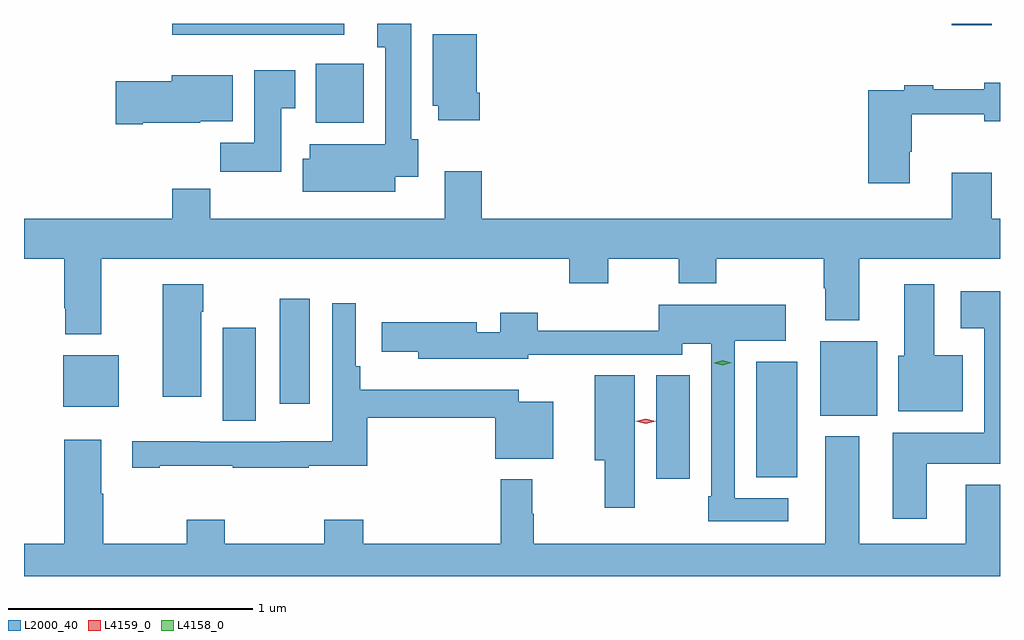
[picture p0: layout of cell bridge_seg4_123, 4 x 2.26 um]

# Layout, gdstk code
import gdstk
lib = gdstk.Library(unit=1e-6, precision=1e-09)
def R(c, l, rs):  # rectangles x0, y0, x1, y1
    for r in rs: c.add(gdstk.rectangle(r[:2], r[2:], *l))
def P(c, l, *ps):  # polygons
    for p in ps: c.add(gdstk.Polygon(p, *l))
L2000_40 = (2000, 40)
L4158_0 = (4158, 0)
L4159_0 = (4159, 0)

bridge_seg4_123 = lib.new_cell('bridge_seg4_123')
R(bridge_seg4_123, L2000_40, [(223.736,749.298,223.873,749.723), (224.147,749.305,224.314,749.779), (221.96,749.536,222.094,749.917), (224.408,749.558,224.641,749.863), (221.306,749.594,221.533,749.806), (222.194,749.607,222.316,750.037), (222.341,750.758,222.538,751), (221.753,751.118,222.457,751.163), (224.948,751.158,225.112,751.163)])
P(bridge_seg4_123, L2000_40, [(222.667,750.536),(222.76,750.536),(222.76,750.69),(222.733,750.69),(222.733,751.163),(222.593,751.163),(222.593,751.067),(222.626,751.067),(222.626,750.67),(222.317,750.67),(222.317,750.611),(222.287,750.611),(222.287,750.476),(222.667,750.476)],
  [(223.013,750.88),(223,750.88),(223,751.12),(222.821,751.12),(222.821,750.828),(222.842,750.828),(222.842,750.768),(223.013,750.768)],
  [(222.199,750.817),(222.256,750.817),(222.256,750.973),(222.089,750.973),(222.089,750.676),(221.95,750.676),(221.95,750.558),(222.199,750.558)],
  [(221.632,750.758),(221.868,750.758),(221.868,750.764),(222.001,750.764),(222.001,750.952),(221.75,750.952),(221.75,750.929),(221.52,750.929),(221.52,750.751),(221.632,750.751)],
  [(224.776,750.64),(224.784,750.64),(224.784,750.793),(225.08,750.793),(225.08,750.764),(225.145,750.764),(225.145,750.922),(225.08,750.922),(225.08,750.896),(224.872,750.896),(224.872,750.911),(224.752,750.911),(224.752,750.891),(224.606,750.891),(224.606,750.51),(224.776,750.51)],
  [(221.461,750.2),(223.379,750.2),(223.379,750.101),(223.539,750.101),(223.539,750.2),(223.828,750.2),(223.828,750.101),(223.983,750.101),(223.983,750.2),(224.422,750.2),(224.422,750.08),(224.429,750.08),(224.429,749.948),(224.569,749.948),(224.569,750.2),(225.145,750.2),(225.145,750.364),(225.112,750.364),(225.112,750.553),(224.948,750.553),(224.948,750.364),(223.022,750.364),(223.022,750.559),(222.869,750.559),(222.869,750.364),(221.909,750.364),(221.909,750.488),(221.753,750.488),(221.753,750.364),(221.145,750.364),(221.145,750.2),(221.309,750.2),(221.309,749.998),(221.314,749.998),(221.314,749.891),(221.461,749.891)],
  [(221.872,749.984),(221.88,749.984),(221.88,750.097),(221.714,750.097),(221.714,749.634),(221.872,749.634)],
  [(224.992,749.806),(224.875,749.806),(224.875,750.097),(224.753,750.097),(224.753,749.802),(224.729,749.802),(224.729,749.576),(224.992,749.576)],
  [(224.845,749.36),(225.145,749.36),(225.145,750.067),(224.985,750.067),(224.985,749.915),(225.08,749.915),(225.08,749.488),(224.705,749.488),(224.705,749.136),(224.845,749.136)],
  [(221.701,749.353),(222.001,749.353),(222.001,749.343),(222.311,749.343),(222.311,749.353),(222.551,749.353),(222.551,749.548),(223.077,749.548),(223.077,749.381),(223.315,749.381),(223.315,749.614),(223.173,749.614),(223.173,749.664),(222.524,749.664),(222.524,749.761),(222.504,749.761),(222.504,750.019),(222.408,750.019),(222.408,749.452),(222.198,749.452),(222.198,749.451),(221.864,749.451),(221.864,749.453),(221.589,749.453),(221.589,749.343),(221.701,749.343)],
  [(224.278,749.22),(224.058,749.22),(224.058,749.864),(224.266,749.864),(224.266,750.013),(223.746,750.013),(223.746,749.906),(223.25,749.906),(223.25,749.98),(223.097,749.98),(223.097,749.899),(223,749.899),(223,749.941),(222.612,749.941),(222.612,749.819),(222.761,749.819),(222.761,749.79),(223.212,749.79),(223.212,749.808),(223.842,749.808),(223.842,749.852),(223.962,749.852),(223.962,749.227),(223.95,749.227),(223.95,749.124),(224.278,749.124)],
  [(223.648,749.723),(223.484,749.723),(223.484,749.375),(223.526,749.375),(223.526,749.181),(223.648,749.181)],
  [(225.145,749.275),(225.005,749.275),(225.005,749.032),(224.569,749.032),(224.569,749.473),(224.429,749.473),(224.429,749.032),(223.235,749.032),(223.235,749.156),(223.228,749.156),(223.228,749.296),(223.099,749.296),(223.099,749.032),(222.536,749.032),(222.536,749.131),(222.376,749.131),(222.376,749.032),(221.967,749.032),(221.967,749.131),(221.812,749.131),(221.812,749.032),(221.469,749.032),(221.469,749.237),(221.461,749.237),(221.461,749.458),(221.309,749.458),(221.309,749.032),(221.145,749.032),(221.145,748.9),(225.145,748.9)])
P(bridge_seg4_123, L4158_0, [(224.009,749.764),(223.974,749.773),(223.974,749.774),(223.974,749.774),(224.009,749.784),(224.044,749.775),(224.044,749.775),(224.044,749.775)])
P(bridge_seg4_123, L4159_0, [(223.693,749.525),(223.652,749.535),(223.652,749.535),(223.652,749.535),(223.693,749.545),(223.734,749.535),(223.734,749.534),(223.734,749.534)])

lib.write_gds('bridge_seg4_123.gds')
